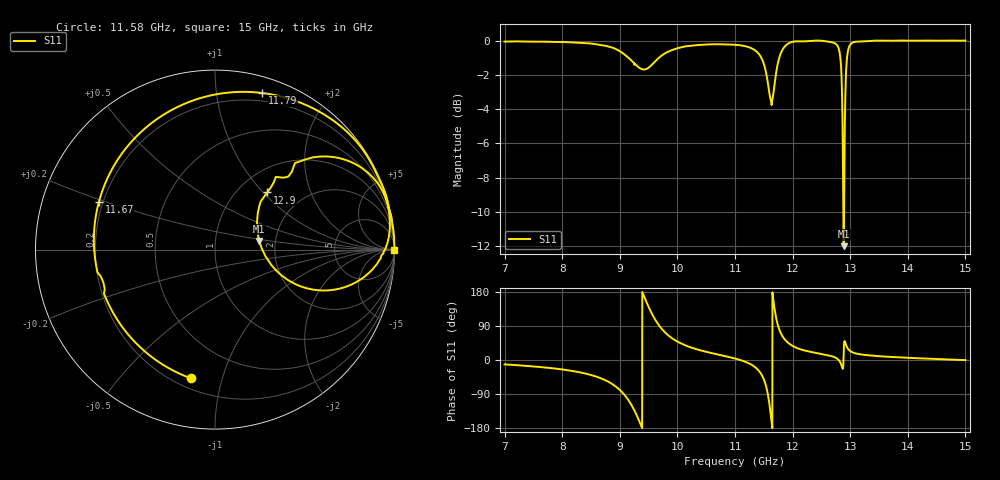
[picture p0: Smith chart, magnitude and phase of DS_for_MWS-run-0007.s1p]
! TOUCHSTONE file generated by CST DESIGN STUDIO
! Date and time: Mon Feb 10 16:45:27 2025
! Project name: C:\Work\MatlabApps\UnitCellType2OptimizationMatlab\CST\unitcell.cst
! Tree item: Tasks\Sweep1\SPara1\S-Parameters
! Header version: 2024
! Port assignment regex: !\s*Touchstone port\s*([0-9]+)\s*=\s*(CST MWS port|CST DES external port|CST DES block port)\s*(.+)\s* \(\"(.*)\"\)(\s*mode\s*([0-9]+))?.*
! Touchstone port assignment:
! Touchstone port 1 = CST DES external port 1 ("")
# GHz S MA R 50
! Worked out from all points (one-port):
!   4001 points, 7 GHz to 15 GHz, reference 50 ohm
!   lowest |S11| = -12.0 dB at 12.89 GHz (marker M1), VSWR 1.67, Z = 82.1 + j8.5 ohm
!   |S11| at or under -10 dB: 12.88045 GHz to 12.89231 GHz (11.86 MHz wide, 0.0921 % of centre)
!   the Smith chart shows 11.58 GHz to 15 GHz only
!   S11 on the Smith chart (normalised r, x): 11.58 GHz: 0.26, -0.80; 11.67 GHz: 0.18, +0.19; 11.79 GHz: 0.13, +1.34; 12.9 GHz: 1.35, +1.05; 15 GHz: open
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7  0.9928 -11.6
8  0.9902 -24.9
8.636  0.9723 -46.2
9  0.9307 -79.0
9.208  0.8722 -120.2
9.4  0.8234 175.9
9.522  0.8389 133.0
9.634  0.876 101.7
9.806  0.9218 69.8
10  0.9491 48.7
10.376  0.9705 26.5
11  0.9717 3.9
11.418  0.9119 -29.2
11.508  0.847 -53.9
11.582  0.73 -100.4
11.628  0.6659 -155.0
11.666  0.6993 157.7
11.72  0.8168 106.5
11.788  0.9115 73.2
12  0.9916 37.1
12.76  0.9744 5.0
12.844  0.824 -11.9
12.886  0.2511 11.1
12.898  0.4313 47.6
12.938  0.8656 35.9
13  0.972 23.6
14  0.9991 5.7
15  0.9997 -0.3
